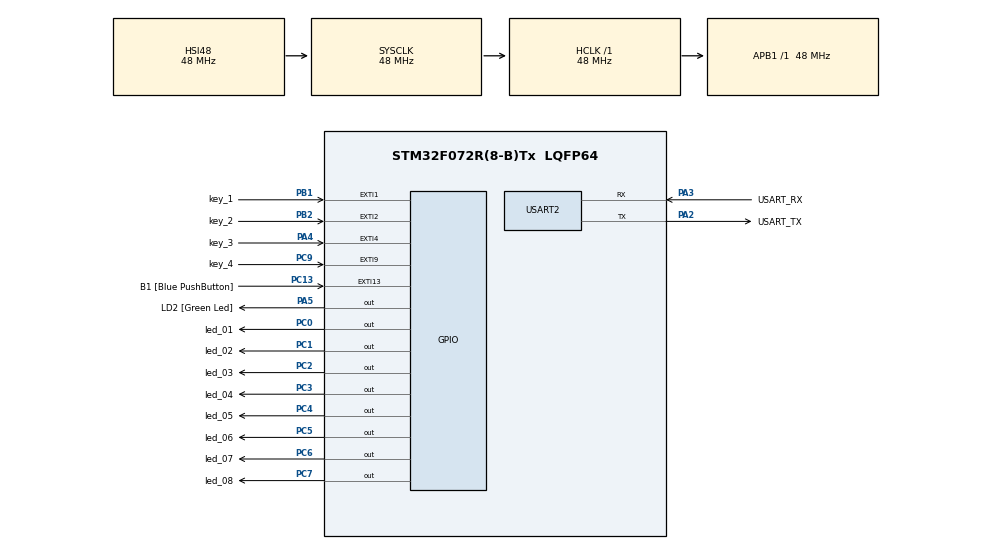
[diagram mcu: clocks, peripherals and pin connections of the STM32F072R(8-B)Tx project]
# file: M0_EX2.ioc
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Mcu.Family=STM32F0
Mcu.Name=STM32F072R(8-B)Tx
Mcu.Package=LQFP64
NVIC.EXTI0_1_IRQn=true\:0\:0\:false\:false\:true\:true\:false\:true
NVIC.EXTI2_3_IRQn=true\:0\:0\:false\:false\:true\:true\:false\:true
NVIC.EXTI4_15_IRQn=true\:0\:0\:false\:false\:true\:true\:false\:true
PA13.GPIO_Label=TMS
PA13.Mode=Serial_Wire
PA13.Signal=SYS_SWDIO
PA14.GPIO_Label=TCK
PA14.Mode=Serial_Wire
PA14.Signal=SYS_SWCLK
PA2.GPIO_Label=USART_TX
PA2.GPIO_Mode=GPIO_MODE_AF_PP
PA2.GPIO_PuPd=GPIO_NOPULL
PA2.GPIO_Speed=GPIO_SPEED_FREQ_LOW
PA2.Mode=Asynchronous
PA2.Signal=USART2_TX
PA3.GPIO_Label=USART_RX
PA3.GPIO_Mode=GPIO_MODE_AF_PP
PA3.GPIO_PuPd=GPIO_NOPULL
PA3.GPIO_Speed=GPIO_SPEED_FREQ_LOW
PA3.Mode=Asynchronous
PA3.Signal=USART2_RX
PA4.GPIO_Label=key_3
PA4.GPIO_ModeDefaultEXTI=GPIO_MODE_IT_FALLING
PA4.GPIO_PuPd=GPIO_NOPULL
PA4.Signal=GPXTI4
PA5.GPIO_Label=LD2 [Green Led]
PA5.GPIO_Mode=GPIO_MODE_OUTPUT_PP
PA5.GPIO_PuPd=GPIO_NOPULL
PA5.GPIO_Speed=GPIO_SPEED_FREQ_LOW
PA5.Signal=GPIO_Output
PB1.GPIO_Label=key_1
PB1.GPIO_ModeDefaultEXTI=GPIO_MODE_IT_FALLING
PB1.GPIO_PuPd=GPIO_NOPULL
PB1.Signal=GPXTI1
PB2.GPIO_Label=key_2
PB2.GPIO_ModeDefaultEXTI=GPIO_MODE_IT_FALLING
PB2.GPIO_PuPd=GPIO_NOPULL
PB2.Signal=GPXTI2
PC0.GPIO_Label=led_01
PC0.Signal=GPIO_Output
PC1.GPIO_Label=led_02
PC1.Signal=GPIO_Output
PC13.GPIO_Label=B1 [Blue PushButton]
PC13.GPIO_ModeDefaultEXTI=GPIO_MODE_IT_FALLING
PC13.Signal=GPXTI13
PC14-OSC32_IN.Mode=LSE-External-Oscillator
PC14-OSC32_IN.Signal=RCC_OSC32_IN
PC15-OSC32_OUT.Mode=LSE-External-Oscillator
PC15-OSC32_OUT.Signal=RCC_OSC32_OUT
PC2.GPIO_Label=led_03
PC2.Signal=GPIO_Output
PC3.GPIO_Label=led_04
PC3.Signal=GPIO_Output
PC4.GPIO_Label=led_05
PC4.Signal=GPIO_Output
PC5.GPIO_Label=led_06
PC5.Signal=GPIO_Output
PC6.GPIO_Label=led_07
PC6.Signal=GPIO_Output
PC7.GPIO_Label=led_08
PC7.Signal=GPIO_Output
PC9.GPIO_Label=key_4
PC9.GPIO_ModeDefaultEXTI=GPIO_MODE_IT_FALLING
PC9.GPIO_PuPd=GPIO_NOPULL
PC9.Signal=GPXTI9
PF0-OSC_IN.Mode=HSE-External-Clock-Source
PF0-OSC_IN.Signal=RCC_OSC_IN
PF1-OSC_OUT.Signal=RCC_OSC_OUT
ProjectManager.HeapSize=0x200
ProjectManager.StackSize=0x400
ProjectManager.TargetToolchain=MDK-ARM V5.32
RCC.AHBFreq_Value=48000000
RCC.APB1Freq_Value=48000000
RCC.APB1TimFreq_Value=48000000
RCC.FLatency-AdvancedSettings=FLASH_LATENCY_1
RCC.HCLKFreq_Value=48000000
RCC.PLLDivider=RCC_PREDIV_DIV2
RCC.PLLMUL=RCC_PLL_MUL12
RCC.PREFETCH_ENABLE-AdvancedSettings=1
RCC.SYSCLKFreq_VALUE=48000000
RCC.SYSCLKSource=RCC_SYSCLKSOURCE_HSI48
USART2.VirtualMode=VM_ASYNC
USART2.VirtualMode-Asynchronous=VM_ASYNC
board=NUCLEO-F072RB

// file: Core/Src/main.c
/* USER CODE BEGIN Header */
/**
  ******************************************************************************
  * @file           : main.c
  * @brief          : Main program body
  ******************************************************************************
  * @attention
  *
  * Copyright (c) 2026 STMicroelectronics.
  * All rights reserved.
  *
  * This software is licensed under terms that can be found in the LICENSE file
  * in the root directory of this software component.
  * If no LICENSE file comes with this software, it is provided AS-IS.
  *
  ******************************************************************************
  */
/* USER CODE END Header */
#include "main.h"

/* USER CODE BEGIN Includes */
#include <stdio.h>  /* V4: printf -> USART2 (ST-LINK Virtual COM Port) */

/* USER CODE END Includes */

UART_HandleTypeDef huart2;

void SystemClock_Config(void);
static void MX_GPIO_Init(void);
static void MX_USART2_UART_Init(void);

/* USER CODE BEGIN 0 */
/*
 * Ex2 V6: RESET forward/reverse 0.5s LED self-test with UART printf.
 * STM32F072RB, USART2 TX=PA2, RX=PA3, baud=38400, 8-N-1.
 * PC0..PC7 correspond to physical LED1..LED8 ONLY when wired that way.
 * Touch module is active LOW: PB1/PB2/PA4/PC9, EXTI falling edge.
 */
#define EX2_LED_MASK     ((uint16_t)0x00FFU)
#define EX2_ALL_ON       ((uint16_t)0x00FFU)
#define EX2_ALL_OFF      ((uint16_t)0x0000U)
#define EX2_ODD_ON       ((uint16_t)0x0055U)
#define EX2_EVEN_ON      ((uint16_t)0x00AAU)
#define EX2_DEBOUNCE_MS  20U
#define EX2_TEST_ON_MS   500U   /* V6: each LED lights for exactly 500 ms (approximately, excluding UART logging) */

static volatile uint8_t ex2_pending_key = 0U;
static volatile uint32_t ex2_pending_tick = 0U;

/* V4: standard printf output redirected to existing USART2.
 * NOTE: HAL_UART_Transmit blocks, so NEVER call printf in an interrupt ISR.
 * This fputc retarget is intended for the project's Keil Arm Compiler 6.
 */
int fputc(int ch, FILE *stream)
{
  uint8_t byte = (uint8_t)ch;
  (void)stream;
  (void)HAL_UART_Transmit(&huart2, &byte, 1U, 100U);
  return ch;
}

/* V4: exact GPIOC ODR feedback helps distinguish firmware mask from wiring.
 * Reading ODR only confirms software GPIO latch state, NOT real LED current.
 */
static void EX2_SetLeds(uint16_t on_mask)
{
  uint16_t on_bits = (uint16_t)(on_mask & EX2_LED_MASK);
  uint16_t off_bits = (uint16_t)(EX2_LED_MASK & (uint16_t)~on_bits);
  GPIOC->BSRR = (uint32_t)on_bits | ((uint32_t)off_bits << 16U);
}

static void EX2_LogLeds(const char *label, uint16_t requested)
{
  unsigned int odr = (unsigned int)(GPIOC->ODR & EX2_LED_MASK);
  printf("[LED] %s req=0x%02X GPIOC_ODR=0x%02X\r\n",
         label, (unsigned int)(requested & EX2_LED_MASK), odr);
}

/* Interrupt context: only record event, no print/no blocking. */
void HAL_GPIO_EXTI_Callback(uint16_t GPIO_Pin)
{
  uint8_t key = 0U;
  if      (GPIO_Pin == key_1_Pin) key = 1U;
  else if (GPIO_Pin == key_2_Pin) key = 2U;
  else if (GPIO_Pin == key_3_Pin) key = 3U;
  else if (GPIO_Pin == key_4_Pin) key = 4U;
  else return;
  ex2_pending_tick = HAL_GetTick();
  ex2_pending_key = key;
}

static uint8_t EX2_KeyIsLow(uint8_t key)
{
  switch (key)
  {
    case 1U: return HAL_GPIO_ReadPin(key_1_GPIO_Port, key_1_Pin) == GPIO_PIN_RESET;
    case 2U: return HAL_GPIO_ReadPin(key_2_GPIO_Port, key_2_Pin) == GPIO_PIN_RESET;
    case 3U: return HAL_GPIO_ReadPin(key_3_GPIO_Port, key_3_Pin) == GPIO_PIN_RESET;
    case 4U: return HAL_GPIO_ReadPin(key_4_GPIO_Port, key_4_Pin) == GPIO_PIN_RESET;
    default: return 0U;
  }
}

static void EX2_DumpPins(const char *stage, uint16_t requested);

/* V5: print press and mask after debounce, in main loop. */
static void EX2_ProcessKeyEvent(void)
{
  uint8_t key;
  uint32_t tick;
  uint16_t mask;
  const char *mode;

  __disable_irq();
  key = ex2_pending_key;
  tick = ex2_pending_tick;
  __enable_irq();
  if (key == 0U || (uint32_t)(HAL_GetTick() - tick) < EX2_DEBOUNCE_MS)
    return;

  __disable_irq();
  if (ex2_pending_key == key && ex2_pending_tick == tick)
    ex2_pending_key = 0U;
  else
    key = 0U;
  __enable_irq();
  if (key == 0U)
    return;

  if (!EX2_KeyIsLow(key))
  {
    printf("[KEY] KEY%u ignored: no longer LOW after %u ms\r\n",
           (unsigned int)key, (unsigned int)EX2_DEBOUNCE_MS);
    return;
  }

  switch (key)
  {
    case 1U: mask = EX2_ALL_ON;  mode = "ALL ON";   break;
    case 2U: mask = EX2_ALL_OFF; mode = "ALL OFF";  break;
    case 3U: mask = EX2_ODD_ON;  mode = "ODD 1,3,5,7"; break;
    case 4U: mask = EX2_EVEN_ON; mode = "EVEN 2,4,6,8"; break;
    default: return;
  }

  printf("[KEY] KEY%u valid LOW, mode=%s\r\n", (unsigned int)key, mode);
  EX2_SetLeds(mask);
  EX2_LogLeds(mode, mask);
  EX2_DumpPins(mode, mask);
  HAL_GPIO_TogglePin(LD2_GPIO_Port, LD2_Pin);
}

/* V5: Report both software output latch ODR and real pin input sample IDR.
 * IDR can indicate pin voltage, but is not a current measurement and cannot
 * prove an LED is physically lit. For this board PC0..PC7 are GPIO outputs.
 */
static void EX2_DumpPins(const char *stage, uint16_t requested)
{
  uint16_t odr = (uint16_t)(GPIOC->ODR & EX2_LED_MASK);
  uint16_t idr = (uint16_t)(GPIOC->IDR & EX2_LED_MASK);
  printf("[PIN] %-16s req=0x%02X ODR=0x%02X IDR=0x%02X PC6=%u PC7=%u\r\n",
         stage, (unsigned int)requested, (unsigned int)odr,
         (unsigned int)idr, (unsigned int)((idr >> 6U) & 1U),
         (unsigned int)((idr >> 7U) & 1U));
}

/* V6 NEW: set exactly one LED and print both GPIOC ODR/IDR for debugging.
 * The lamp remains on for 500ms; all other LED outputs are driven LOW.
 * No 250ms inter-lamp gaps in this version.
 */
static void EX2_TestOneLed(uint8_t led_number)
{
  uint8_t pin_number = (uint8_t)(led_number - 1U);
  uint16_t mask = (uint16_t)(1U << pin_number);
  char label[22];

  EX2_SetLeds(mask);
  (void)snprintf(label, sizeof(label), "LED%u / PC%u",
                 (unsigned int)led_number, (unsigned int)pin_number);
  EX2_DumpPins(label, mask);
  HAL_Delay(EX2_TEST_ON_MS);
}

/* V6 NEW RESET test order requested:
 * 1 -> 2 -> 3 -> 4 -> 5 -> 6 -> 7 -> 8 (500ms each)
 * 8 -> 7 -> 6 -> 5 -> 4 -> 3 -> 2 -> 1 (500ms each)
 * ALL ON for 500ms, then ALL OFF.
 * USART2: 38400 baud, 8N1; press KEY1..KEY4 after self-test.
 */
static void EX2_StartupSelfTest(void)
{
  uint8_t i;
  printf("\r\n========== M0 Ex2 V6 RESET FORWARD/REVERSE DEBUG ==========\r\n");
  printf("USART2=38400 8N1 | LEDs PC0..PC7 | active-HIGH outputs\r\n");
  printf("Touch PB1 PB2 PA4 PC9 | ACTIVE LOW, falling EXTI\r\n");

  printf("[BOOT] FORWARD LED1 -> LED8, 500 ms/LED\r\n");
  for (i = 1U; i <= 8U; ++i)
  {
    EX2_TestOneLed(i);
  }

  printf("[BOOT] REVERSE LED8 -> LED1, 500 ms/LED\r\n");
  for (i = 8U; i >= 1U; --i)
  {
    EX2_TestOneLed(i);
  }

  printf("[BOOT] ALL ON, 500 ms\r\n");
  EX2_SetLeds(EX2_ALL_ON);
  EX2_DumpPins("ALL ON", EX2_ALL_ON);
  HAL_Delay(500U);

  EX2_SetLeds(EX2_ALL_OFF);
  EX2_DumpPins("ALL OFF", EX2_ALL_OFF);
  printf("[BOOT] Finished: ALL OFF. Touch KEY1..KEY4.\r\n");
}

/* USER CODE END 0 */

int main(void)
{

  /* MCU Configuration--------------------------------------------------------*/

  /* Reset of all peripherals, Initializes the Flash interface and the Systick. */
  HAL_Init();

  /* Configure the system clock */
  SystemClock_Config();

  /* Initialize all configured peripherals */
  MX_GPIO_Init();
  MX_USART2_UART_Init();
  /* USER CODE BEGIN 2 */
  /* V4: UART is initialized before any printf; no logging inside EXTI ISR. */
  EX2_StartupSelfTest();
  /* USER CODE END 2 */

  /* Infinite loop */
  while (1)
  {

    /* USER CODE BEGIN 3 */
    EX2_ProcessKeyEvent();
  }
  /* USER CODE END 3 */
}

void SystemClock_Config(void)
{
  RCC_OscInitTypeDef RCC_OscInitStruct = {0};
  RCC_ClkInitTypeDef RCC_ClkInitStruct = {0};
  RCC_PeriphCLKInitTypeDef PeriphClkInit = {0};

  /** Initializes the RCC Oscillators according to the specified parameters
  * in the RCC_OscInitTypeDef structure.
  */
  RCC_OscInitStruct.OscillatorType = RCC_OSCILLATORTYPE_HSI48;
  RCC_OscInitStruct.HSI48State = RCC_HSI48_ON;
  RCC_OscInitStruct.PLL.PLLState = RCC_PLL_NONE;
  if (HAL_RCC_OscConfig(&RCC_OscInitStruct) != HAL_OK)
  {
    Error_Handler();
  }

  /** Initializes the CPU, AHB and APB buses clocks
  */
  RCC_ClkInitStruct.ClockType = RCC_CLOCKTYPE_HCLK|RCC_CLOCKTYPE_SYSCLK
                              |RCC_CLOCKTYPE_PCLK1;
  RCC_ClkInitStruct.SYSCLKSource = RCC_SYSCLKSOURCE_HSI48;
  RCC_ClkInitStruct.AHBCLKDivider = RCC_SYSCLK_DIV1;
  RCC_ClkInitStruct.APB1CLKDivider = RCC_HCLK_DIV1;

  if (HAL_RCC_ClockConfig(&RCC_ClkInitStruct, FLASH_LATENCY_1) != HAL_OK)
  {
    Error_Handler();
  }
  PeriphClkInit.PeriphClockSelection = RCC_PERIPHCLK_USART2;
  PeriphClkInit.Usart2ClockSelection = RCC_USART2CLKSOURCE_PCLK1;
  if (HAL_RCCEx_PeriphCLKConfig(&PeriphClkInit) != HAL_OK)
  {
    Error_Handler();
  }
}

static void MX_USART2_UART_Init(void)
{

  huart2.Instance = USART2;
  huart2.Init.BaudRate = 38400;
  huart2.Init.WordLength = UART_WORDLENGTH_8B;
  huart2.Init.StopBits = UART_STOPBITS_1;
  huart2.Init.Parity = UART_PARITY_NONE;
  huart2.Init.Mode = UART_MODE_TX_RX;
  huart2.Init.HwFlowCtl = UART_HWCONTROL_NONE;
  huart2.Init.OverSampling = UART_OVERSAMPLING_16;
  huart2.Init.OneBitSampling = UART_ONE_BIT_SAMPLE_DISABLE;
  huart2.AdvancedInit.AdvFeatureInit = UART_ADVFEATURE_NO_INIT;
  if (HAL_UART_Init(&huart2) != HAL_OK)
  {
    Error_Handler();
  }

}

static void MX_GPIO_Init(void)
{
  GPIO_InitTypeDef GPIO_InitStruct = {0};

  /* GPIO Ports Clock Enable */
  __HAL_RCC_GPIOC_CLK_ENABLE();
  __HAL_RCC_GPIOF_CLK_ENABLE();
  __HAL_RCC_GPIOA_CLK_ENABLE();
  __HAL_RCC_GPIOB_CLK_ENABLE();

  /*Configure GPIO pin Output Level */
  HAL_GPIO_WritePin(GPIOC, led_01_Pin|led_02_Pin|led_03_Pin|led_04_Pin
                          |led_05_Pin|led_06_Pin|led_07_Pin|led_08_Pin, GPIO_PIN_RESET);

  /*Configure GPIO pin Output Level */
  HAL_GPIO_WritePin(LD2_GPIO_Port, LD2_Pin, GPIO_PIN_RESET);

  /*Configure GPIO pin : B1_Pin */
  GPIO_InitStruct.Pin = B1_Pin;
  GPIO_InitStruct.Mode = GPIO_MODE_IT_FALLING;
  GPIO_InitStruct.Pull = GPIO_NOPULL;
  HAL_GPIO_Init(B1_GPIO_Port, &GPIO_InitStruct);

  /*Configure GPIO pins : led_01_Pin led_02_Pin led_03_Pin led_04_Pin
                           led_05_Pin led_06_Pin led_07_Pin led_08_Pin */
  GPIO_InitStruct.Pin = led_01_Pin|led_02_Pin|led_03_Pin|led_04_Pin
                          |led_05_Pin|led_06_Pin|led_07_Pin|led_08_Pin;
  GPIO_InitStruct.Mode = GPIO_MODE_OUTPUT_PP;
  GPIO_InitStruct.Pull = GPIO_NOPULL;
  GPIO_InitStruct.Speed = GPIO_SPEED_FREQ_LOW;
  HAL_GPIO_Init(GPIOC, &GPIO_InitStruct);

  /*Configure GPIO pin : key_3_Pin */
  GPIO_InitStruct.Pin = key_3_Pin;
  GPIO_InitStruct.Mode = GPIO_MODE_IT_FALLING;
  GPIO_InitStruct.Pull = GPIO_NOPULL;
  HAL_GPIO_Init(key_3_GPIO_Port, &GPIO_InitStruct);

  /*Configure GPIO pin : LD2_Pin */
  GPIO_InitStruct.Pin = LD2_Pin;
  GPIO_InitStruct.Mode = GPIO_MODE_OUTPUT_PP;
  GPIO_InitStruct.Pull = GPIO_NOPULL;
  GPIO_InitStruct.Speed = GPIO_SPEED_FREQ_LOW;
  HAL_GPIO_Init(LD2_GPIO_Port, &GPIO_InitStruct);

  /*Configure GPIO pins : key_1_Pin key_2_Pin */
  GPIO_InitStruct.Pin = key_1_Pin|key_2_Pin;
  GPIO_InitStruct.Mode = GPIO_MODE_IT_FALLING;
  GPIO_InitStruct.Pull = GPIO_NOPULL;
  HAL_GPIO_Init(GPIOB, &GPIO_InitStruct);

  /*Configure GPIO pin : key_4_Pin */
  GPIO_InitStruct.Pin = key_4_Pin;
  GPIO_InitStruct.Mode = GPIO_MODE_IT_FALLING;
  GPIO_InitStruct.Pull = GPIO_NOPULL;
  HAL_GPIO_Init(key_4_GPIO_Port, &GPIO_InitStruct);

  /* EXTI grouped IRQs: PB1 -> 0_1, PB2 -> 2_3, PA4/PC9 -> 4_15. */
  HAL_NVIC_SetPriority(EXTI0_1_IRQn, 0, 0);
  HAL_NVIC_EnableIRQ(EXTI0_1_IRQn);
  HAL_NVIC_SetPriority(EXTI2_3_IRQn, 0, 0);
  HAL_NVIC_EnableIRQ(EXTI2_3_IRQn);
  HAL_NVIC_SetPriority(EXTI4_15_IRQn, 0, 0);
  HAL_NVIC_EnableIRQ(EXTI4_15_IRQn);

}

void Error_Handler(void)
{
  __disable_irq();
  while (1)
  {
  }
}
